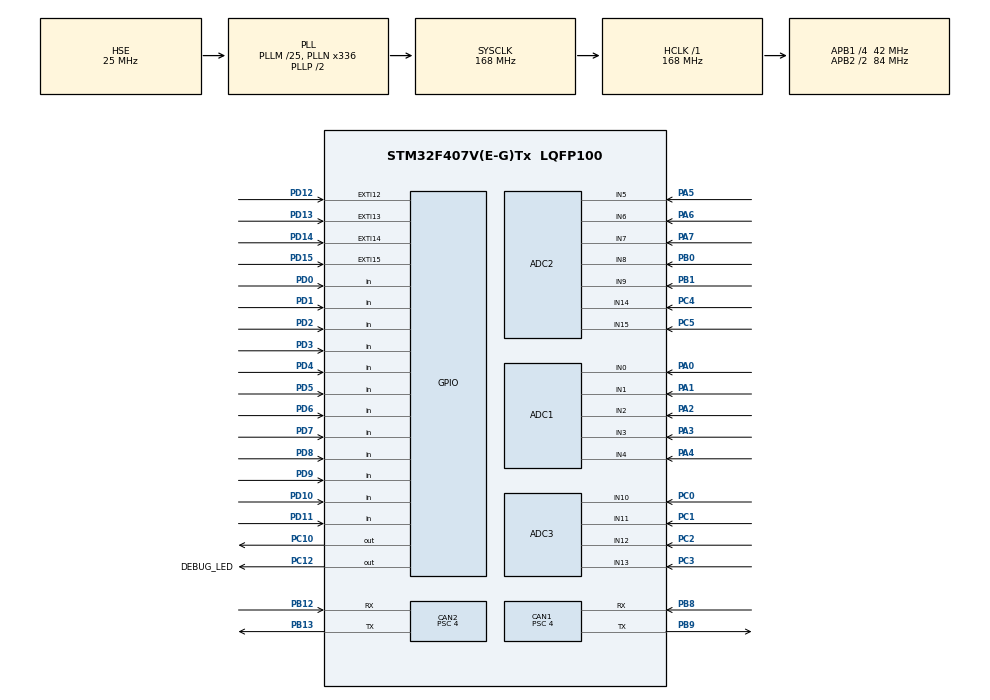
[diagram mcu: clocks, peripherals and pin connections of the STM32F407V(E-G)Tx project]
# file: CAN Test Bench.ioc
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ADC1.Channel-0\#ChannelRegularConversion=ADC_CHANNEL_0
ADC1.Channel-1\#ChannelRegularConversion=ADC_CHANNEL_1
ADC1.Channel-2\#ChannelRegularConversion=ADC_CHANNEL_2
ADC1.Channel-3\#ChannelRegularConversion=ADC_CHANNEL_3
ADC1.Channel-5\#ChannelInjectedConversion=ADC_CHANNEL_0
ADC1.Channel-6\#ChannelInjectedConversion=ADC_CHANNEL_0
ADC1.Channel-7\#ChannelInjectedConversion=ADC_CHANNEL_0
ADC1.Channel-8\#ChannelInjectedConversion=ADC_CHANNEL_0
ADC1.Channel-9\#ChannelRegularConversion=ADC_CHANNEL_4
ADC1.ClockPrescaler=ADC_CLOCK_SYNC_PCLK_DIV8
ADC1.ContinuousConvMode=DISABLE
ADC1.DMAContinuousRequests=DISABLE
ADC1.EOCSelection=ADC_EOC_SINGLE_CONV
ADC1.EnableAnalogWatchDog=false
ADC1.InjNumberOfConversion=4
ADC1.InjectedOffset-5\#ChannelInjectedConversion=0
ADC1.InjectedOffset-6\#ChannelInjectedConversion=0
ADC1.InjectedOffset-7\#ChannelInjectedConversion=0
ADC1.InjectedOffset-8\#ChannelInjectedConversion=0
ADC1.InjectedRank-5\#ChannelInjectedConversion=1
ADC1.InjectedRank-6\#ChannelInjectedConversion=2
ADC1.InjectedRank-7\#ChannelInjectedConversion=3
ADC1.InjectedRank-8\#ChannelInjectedConversion=4
ADC1.NbrOfConversion=5
ADC1.NbrOfConversionFlag=1
ADC1.Rank-0\#ChannelRegularConversion=1
ADC1.Rank-1\#ChannelRegularConversion=2
ADC1.Rank-2\#ChannelRegularConversion=3
ADC1.Rank-3\#ChannelRegularConversion=4
ADC1.Rank-9\#ChannelRegularConversion=5
ADC1.SamplingTime-0\#ChannelRegularConversion=ADC_SAMPLETIME_144CYCLES
ADC1.SamplingTime-1\#ChannelRegularConversion=ADC_SAMPLETIME_144CYCLES
ADC1.SamplingTime-2\#ChannelRegularConversion=ADC_SAMPLETIME_144CYCLES
ADC1.SamplingTime-3\#ChannelRegularConversion=ADC_SAMPLETIME_144CYCLES
ADC1.SamplingTime-5\#ChannelInjectedConversion=ADC_SAMPLETIME_3CYCLES
ADC1.SamplingTime-6\#ChannelInjectedConversion=ADC_SAMPLETIME_3CYCLES
ADC1.SamplingTime-7\#ChannelInjectedConversion=ADC_SAMPLETIME_3CYCLES
ADC1.SamplingTime-8\#ChannelInjectedConversion=ADC_SAMPLETIME_3CYCLES
ADC1.SamplingTime-9\#ChannelRegularConversion=ADC_SAMPLETIME_144CYCLES
ADC1.master=1
ADC2.Channel-0\#ChannelRegularConversion=ADC_CHANNEL_5
ADC2.Channel-1\#ChannelRegularConversion=ADC_CHANNEL_6
ADC2.Channel-2\#ChannelRegularConversion=ADC_CHANNEL_7
ADC2.Channel-3\#ChannelRegularConversion=ADC_CHANNEL_8
ADC2.Channel-4\#ChannelRegularConversion=ADC_CHANNEL_9
ADC2.Channel-5\#ChannelRegularConversion=ADC_CHANNEL_14
ADC2.Channel-6\#ChannelRegularConversion=ADC_CHANNEL_15
ADC2.ClockPrescaler=ADC_CLOCK_SYNC_PCLK_DIV8
ADC2.NbrOfConversion=7
ADC2.NbrOfConversionFlag=1
ADC2.Rank-0\#ChannelRegularConversion=1
ADC2.Rank-1\#ChannelRegularConversion=2
ADC2.Rank-2\#ChannelRegularConversion=3
ADC2.Rank-3\#ChannelRegularConversion=4
ADC2.Rank-4\#ChannelRegularConversion=5
ADC2.Rank-5\#ChannelRegularConversion=6
ADC2.Rank-6\#ChannelRegularConversion=7
ADC2.SamplingTime-0\#ChannelRegularConversion=ADC_SAMPLETIME_144CYCLES
ADC2.SamplingTime-1\#ChannelRegularConversion=ADC_SAMPLETIME_144CYCLES
ADC2.SamplingTime-2\#ChannelRegularConversion=ADC_SAMPLETIME_144CYCLES
ADC2.SamplingTime-3\#ChannelRegularConversion=ADC_SAMPLETIME_144CYCLES
ADC2.SamplingTime-4\#ChannelRegularConversion=ADC_SAMPLETIME_144CYCLES
ADC2.SamplingTime-5\#ChannelRegularConversion=ADC_SAMPLETIME_144CYCLES
ADC2.SamplingTime-6\#ChannelRegularConversion=ADC_SAMPLETIME_144CYCLES
ADC2.ScanConvMode=ENABLE
ADC3.Channel-0\#ChannelRegularConversion=ADC_CHANNEL_10
ADC3.Channel-1\#ChannelRegularConversion=ADC_CHANNEL_11
ADC3.Channel-2\#ChannelRegularConversion=ADC_CHANNEL_12
ADC3.Channel-3\#ChannelRegularConversion=ADC_CHANNEL_13
ADC3.ClockPrescaler=ADC_CLOCK_SYNC_PCLK_DIV8
ADC3.NbrOfConversion=4
ADC3.NbrOfConversionFlag=1
ADC3.Rank-0\#ChannelRegularConversion=1
ADC3.Rank-1\#ChannelRegularConversion=2
ADC3.Rank-2\#ChannelRegularConversion=3
ADC3.Rank-3\#ChannelRegularConversion=4
ADC3.SamplingTime-0\#ChannelRegularConversion=ADC_SAMPLETIME_144CYCLES
ADC3.SamplingTime-1\#ChannelRegularConversion=ADC_SAMPLETIME_144CYCLES
ADC3.SamplingTime-2\#ChannelRegularConversion=ADC_SAMPLETIME_144CYCLES
ADC3.SamplingTime-3\#ChannelRegularConversion=ADC_SAMPLETIME_144CYCLES
ADC3.ScanConvMode=ENABLE
CAN1.BS1=CAN_BS1_12TQ
CAN1.BS2=CAN_BS2_8TQ
CAN1.CalculateBaudRate=500000
CAN1.CalculateTimeBit=2000
CAN1.CalculateTimeQuantum=95.23809523809524
CAN1.Prescaler=4
CAN1.TXFP=ENABLE
CAN2.BS1=CAN_BS1_12TQ
CAN2.BS2=CAN_BS2_8TQ
CAN2.CalculateBaudRate=500000
CAN2.CalculateTimeBit=2000
CAN2.CalculateTimeQuantum=95.23809523809524
CAN2.Prescaler=4
CAN2.TXFP=ENABLE
Dma.ADC1.0.Direction=DMA_PERIPH_TO_MEMORY
Dma.ADC1.0.FIFOMode=DMA_FIFOMODE_DISABLE
Dma.ADC1.0.Instance=DMA2_Stream0
Dma.ADC1.0.MemDataAlignment=DMA_MDATAALIGN_WORD
Dma.ADC1.0.MemInc=DMA_MINC_ENABLE
Dma.ADC1.0.Mode=DMA_CIRCULAR
Dma.ADC1.0.PeriphDataAlignment=DMA_PDATAALIGN_WORD
Dma.ADC1.0.PeriphInc=DMA_PINC_DISABLE
Dma.ADC1.0.Priority=DMA_PRIORITY_HIGH
Dma.ADC2.1.Direction=DMA_PERIPH_TO_MEMORY
Dma.ADC2.1.FIFOMode=DMA_FIFOMODE_DISABLE
Dma.ADC2.1.Instance=DMA2_Stream2
Dma.ADC2.1.MemDataAlignment=DMA_MDATAALIGN_HALFWORD
Dma.ADC2.1.MemInc=DMA_MINC_ENABLE
Dma.ADC2.1.Mode=DMA_NORMAL
Dma.ADC2.1.PeriphDataAlignment=DMA_PDATAALIGN_HALFWORD
Dma.ADC2.1.PeriphInc=DMA_PINC_DISABLE
Dma.ADC2.1.Priority=DMA_PRIORITY_HIGH
Dma.ADC3.2.Direction=DMA_PERIPH_TO_MEMORY
Dma.ADC3.2.FIFOMode=DMA_FIFOMODE_DISABLE
Dma.ADC3.2.Instance=DMA2_Stream1
Dma.ADC3.2.MemDataAlignment=DMA_MDATAALIGN_HALFWORD
Dma.ADC3.2.MemInc=DMA_MINC_ENABLE
Dma.ADC3.2.Mode=DMA_NORMAL
Dma.ADC3.2.PeriphDataAlignment=DMA_PDATAALIGN_HALFWORD
Dma.ADC3.2.PeriphInc=DMA_PINC_DISABLE
Dma.ADC3.2.Priority=DMA_PRIORITY_HIGH
Dma.Request0=ADC1
Dma.Request1=ADC2
Dma.Request2=ADC3
Mcu.Family=STM32F4
Mcu.Name=STM32F407V(E-G)Tx
Mcu.Package=LQFP100
NVIC.ADC_IRQn=true\:5\:0\:true\:false\:true\:true\:true\:true
NVIC.CAN1_RX0_IRQn=true\:6\:0\:true\:false\:true\:true\:true\:true
NVIC.CAN1_RX1_IRQn=true\:6\:0\:true\:false\:true\:true\:true\:true
NVIC.CAN1_SCE_IRQn=true\:6\:0\:true\:false\:true\:true\:true\:true
NVIC.CAN1_TX_IRQn=true\:6\:0\:true\:false\:true\:true\:true\:true
NVIC.CAN2_RX0_IRQn=true\:6\:0\:true\:false\:true\:true\:true\:true
NVIC.CAN2_RX1_IRQn=true\:6\:0\:true\:false\:true\:true\:true\:true
NVIC.CAN2_SCE_IRQn=true\:6\:0\:true\:false\:true\:true\:true\:true
NVIC.CAN2_TX_IRQn=true\:6\:0\:true\:false\:true\:true\:true\:true
NVIC.DMA2_Stream0_IRQn=true\:0\:0\:false\:false\:true\:false\:true\:true
NVIC.DMA2_Stream1_IRQn=true\:0\:0\:false\:false\:true\:false\:true\:true
NVIC.DMA2_Stream2_IRQn=true\:0\:0\:false\:false\:true\:false\:true\:true
NVIC.EXTI15_10_IRQn=true\:7\:0\:true\:false\:true\:true\:true\:true
NVIC.PriorityGroup=NVIC_PRIORITYGROUP_4
NVIC.TIM1_UP_TIM10_IRQn=true\:15\:0\:false\:false\:true\:false\:true\:true
NVIC.TimeBase=TIM1_UP_TIM10_IRQn
NVIC.TimeBaseIP=TIM1
PA0-WKUP.Signal=ADCx_IN0
PA1.Signal=ADCx_IN1
PA13.Mode=Trace_Asynchronous_SW
PA13.Signal=SYS_JTMS-SWDIO
PA14.Mode=Trace_Asynchronous_SW
PA14.Signal=SYS_JTCK-SWCLK
PA2.Signal=ADCx_IN2
PA3.Signal=ADCx_IN3
PA4.Signal=ADCx_IN4
PA5.Signal=ADCx_IN5
PA6.Signal=ADCx_IN6
PA7.Signal=ADCx_IN7
PB0.Signal=ADCx_IN8
PB1.Signal=ADCx_IN9
PB12.Mode=CAN_Activate
PB12.Signal=CAN2_RX
PB13.Mode=CAN_Activate
PB13.Signal=CAN2_TX
PB3.Mode=Trace_Asynchronous_SW
PB3.Signal=SYS_JTDO-SWO
PB8.Mode=CAN_Activate
PB8.Signal=CAN1_RX
PB9.Mode=CAN_Activate
PB9.Signal=CAN1_TX
PC0.Signal=ADCx_IN10
PC1.Signal=ADCx_IN11
PC10.Signal=GPIO_Output
PC12.GPIO_Label=DEBUG_LED
PC12.Signal=GPIO_Output
PC2.Signal=ADCx_IN12
PC3.Signal=ADCx_IN13
PC4.Signal=ADCx_IN14
PC5.Signal=ADCx_IN15
PD0.GPIO_PuPd=GPIO_PULLDOWN
PD0.Signal=GPIO_Input
PD1.GPIO_PuPd=GPIO_PULLDOWN
PD1.Signal=GPIO_Input
PD10.GPIO_PuPd=GPIO_PULLDOWN
PD10.Signal=GPIO_Input
PD11.GPIO_PuPd=GPIO_PULLDOWN
PD11.Signal=GPIO_Input
PD12.GPIO_PuPd=GPIO_PULLDOWN
PD12.Signal=GPXTI12
PD13.GPIO_PuPd=GPIO_PULLDOWN
PD13.Signal=GPXTI13
PD14.GPIO_PuPd=GPIO_PULLDOWN
PD14.Signal=GPXTI14
PD15.GPIO_PuPd=GPIO_PULLDOWN
PD15.Signal=GPXTI15
PD2.GPIO_PuPd=GPIO_PULLDOWN
PD2.Signal=GPIO_Input
PD3.GPIO_PuPd=GPIO_PULLDOWN
PD3.Signal=GPIO_Input
PD4.GPIO_PuPd=GPIO_PULLDOWN
PD4.Signal=GPIO_Input
PD5.GPIO_PuPd=GPIO_PULLDOWN
PD5.Signal=GPIO_Input
PD6.GPIO_PuPd=GPIO_PULLDOWN
PD6.Signal=GPIO_Input
PD7.GPIO_PuPd=GPIO_PULLDOWN
PD7.Signal=GPIO_Input
PD8.GPIO_PuPd=GPIO_PULLDOWN
PD8.Signal=GPIO_Input
PD9.GPIO_PuPd=GPIO_PULLDOWN
PD9.Signal=GPIO_Input
PH0-OSC_IN.Mode=HSE-External-Clock-Source
PH0-OSC_IN.Signal=RCC_OSC_IN
PH1-OSC_OUT.Mode=HSE-External-Clock-Source
PH1-OSC_OUT.Signal=RCC_OSC_OUT
ProjectManager.HeapSize=0x200
ProjectManager.StackSize=0x400
ProjectManager.TargetToolchain=STM32CubeIDE
RCC.48MHZClocksFreq_Value=84000000
RCC.AHBFreq_Value=168000000
RCC.APB1CLKDivider=RCC_HCLK_DIV4
RCC.APB1Freq_Value=42000000
RCC.APB1TimFreq_Value=84000000
RCC.APB2CLKDivider=RCC_HCLK_DIV2
RCC.APB2Freq_Value=84000000
RCC.APB2TimFreq_Value=168000000
RCC.CortexFreq_Value=168000000
RCC.HCLKFreq_Value=168000000
RCC.HSE_VALUE=25000000
RCC.HSI_VALUE=16000000
RCC.LSE_VALUE=32768
RCC.PLLM=25
RCC.PLLN=336
RCC.PLLSourceVirtual=RCC_PLLSOURCE_HSE
RCC.SYSCLKFreq_VALUE=168000000
RCC.SYSCLKSource=RCC_SYSCLKSOURCE_PLLCLK
RCC.VCOOutputFreq_Value=336000000
SH.ADCx_IN0.0=ADC1_IN0,IN0
SH.ADCx_IN1.0=ADC1_IN1,IN1
SH.ADCx_IN10.0=ADC3_IN10,IN10
SH.ADCx_IN11.0=ADC3_IN11,IN11
SH.ADCx_IN12.0=ADC3_IN12,IN12
SH.ADCx_IN13.0=ADC3_IN13,IN13
SH.ADCx_IN14.0=ADC2_IN14,IN14
SH.ADCx_IN15.0=ADC2_IN15,IN15
SH.ADCx_IN2.0=ADC1_IN2,IN2
SH.ADCx_IN3.0=ADC1_IN3,IN3
SH.ADCx_IN4.0=ADC1_IN4,IN4
SH.ADCx_IN5.0=ADC2_IN5,IN5
SH.ADCx_IN6.0=ADC2_IN6,IN6
SH.ADCx_IN7.0=ADC2_IN7,IN7
SH.ADCx_IN8.0=ADC2_IN8,IN8
SH.ADCx_IN9.0=ADC2_IN9,IN9
TIM3.AutoReloadPreload=TIM_AUTORELOAD_PRELOAD_DISABLE
TIM3.ClockDivision=TIM_CLOCKDIVISION_DIV1
TIM3.Period=99
TIM3.Prescaler=83
TIM3.TIM_MasterOutputTrigger=TIM_TRGO_UPDATE
TIM5.Prescaler=83
VP_SYS_VS_tim1.Mode=TIM1
VP_TIM11_VS_ClockSourceINT.Mode=Enable_Timer
VP_TIM3_VS_ClockSourceINT.Mode=Internal
VP_TIM5_VS_ClockSourceINT.Mode=Internal
board=custom

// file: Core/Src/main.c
/* USER CODE BEGIN Header */
/**
  ******************************************************************************
  * @file           : main.c
  * @brief          : Main program body
  ******************************************************************************
  * @attention
  *
  * Copyright (c) 2023 STMicroelectronics.
  * All rights reserved.
  *
  * This software is licensed under terms that can be found in the LICENSE file
  * in the root directory of this software component.
  * If no LICENSE file comes with this software, it is provided AS-IS.
  *
  ******************************************************************************
  */

#define __UV_FILENAME__ "main.c"
#define MAIN_C

/* USER CODE END Header */
#include "main.h"
#include "adc.h"
#include "can.h"
#include "dma.h"
#include "tim.h"
#include "gpio.h"

/* USER CODE BEGIN Includes */

// The CAN info is defined in constants

#include "constants.h"
#include "bms.h"
#include "dash.h"
#include "imd.h"
#include "motor_controller.h"
#include "pdu.h"
#include "../FreeRTOS/Source/CMSIS_RTOS/cmsis_os.h"
#include <stdio.h>

/* USER CODE END Includes */

/* USER CODE BEGIN PD */
#define DEBUG_CAN_IN_MAIN 0
/* USER CODE END PD */

/* USER CODE BEGIN PV */
volatile uint32_t adc_buf1[5]; // ADC1 - high priority readings

uint16_t adc1_APPS1; //These are the locations for the sensor inputs for APPS and BPS
uint16_t adc1_APPS2;
uint16_t adc1_BPS1;
uint16_t adc1_BPS2;
uint16_t adc1_pack_curr;

volatile uint32_t adc_buf2[7]; // ADC2 - lower priority readings
uint16_t adc2_CoolantTemp1;
uint16_t adc2_CoolantTemp2;
uint16_t adc2_CoolantFlow;
uint16_t adc2_steering_pos;

volatile uint32_t adc_buf3[4];
uint16_t adc3_damper_FL;
uint16_t adc3_damper_FR;
uint16_t adc3_damper_RL;
uint16_t adc3_damper_RR;

TaskHandle_t init_task_handle;
uv_init_struct init_settings;

//int adc_conv_complete_flag = 0;

//State of da vehicle
//enum uv_vehicle_state_t vehicle_state = UV_INIT; //TODO: Define new state machine logic

/* USER CODE END PV */

void SystemClock_Config(void);

int main(void)
{

  /* MCU Configuration--------------------------------------------------------*/

  /* Reset of all peripherals, Initializes the Flash interface and the Systick. */
    HAL_Init();

  /* USER CODE BEGIN Init */
  // The CAN clock must be enabled
  __HAL_RCC_CAN2_CLK_ENABLE();
  __HAL_RCC_CAN1_CLK_ENABLE();
  /* USER CODE END Init */

  /* Configure the system clock */
  SystemClock_Config();

  /* USER CODE BEGIN SysInit */
  uvAssert((1+1) == 2);
  SysTick_Config(SystemCoreClock / 1000);
  /* USER CODE END SysInit */

  /* Initialize all configured peripherals */
  MX_GPIO_Init();
  MX_DMA_Init();
  MX_CAN2_Init();
  MX_ADC1_Init();
  MX_TIM3_Init();
  MX_ADC2_Init();
  MX_ADC3_Init();
  MX_CAN1_Init();
  MX_TIM11_Init();
  MX_TIM5_Init();
  /* USER CODE BEGIN 2 */
  //HAL_ADC_Start_DMA(&hadc1, (uint32_t*)adc_buf1, ADC1_BUF_LEN);
  //HAL_TIM_Base_Start_IT(&htim3); This is getting disabled, since measuring temp will now be an RTOS task
   // Just to prove we reached this point in the code
  //MX_FREERTOS_Init();
  //ANYTHING WE NEED TO DO BEFORE THE KERNEL TAKES OVER SHOULD HAPPEN HERE:

  //HAL_NVIC_PriorityGroupConfig( NVIC_PRIORITYGROUP_4 ); ///< This one is a fun function to do some NVIC tomfoolery because we need to
#if DEBUG_CAN_IN_MAIN
  while(1){
	  HAL_GPIO_TogglePin(GPIOD,GPIO_PIN_14);
	  TxData[0] = 0b10101010;
	  TxData[1] = 0b10101010;
	  TxData[2] = 0b10101010;
	  TxData[3] = 1;
	  TxData[4] = 2;
	  TxData[5] = 3;
	  TxData[6] = 0b10101010;
	  TxData[7] = 0b10101010;

	  HAL_StatusTypeDef can_send_status;

	  					//vTaskDelay(400);

	  HAL_Delay(200);

	  TxHeader.IDE = CAN_ID_EXT;
	  TxHeader.ExtId = 0x1234;

	  TxHeader.DLC = 8;

	  //No need for a critical section when we out here in main without a scheduler running :)
	  //taskENTER_CRITICAL();
	  can_send_status = HAL_CAN_AddTxMessage(&hcan2, &TxHeader, TxData, &TxMailbox);
	  //taskEXIT_CRITICAL();

	  if (can_send_status != HAL_OK){
	  													/* Transmission request Error */
	  						//uvPanic("Unable to Transmit CAN msg",can_send_status);
	  		handleCANbusError(&hcan2, 0);
	  }

  }
#endif

#ifdef DEBUG
  printf("STARTING VCU\n");
#endif
  /* USER CODE END 2 */

  /* Infinite loop */
  /* USER CODE BEGIN WHILE */

  BaseType_t x_task_return = xTaskCreate(uvInit,"init",512,&init_settings,osPriorityNormal,&init_task_handle);
    if(x_task_return != pdPASS){
  	 while(1){
  		  //Program hangs itself, like bro, we couldnt even create the INITIALISATION task, thats fucked
  	 }
  }

  vTaskStartScheduler();

  //We only get here if for whatever god forsaken reason somebody calls vTaskEndScheduler();

  /* USER CODE END 3 */
}

void SystemClock_Config(void)
{
  RCC_OscInitTypeDef RCC_OscInitStruct = {0};
  RCC_ClkInitTypeDef RCC_ClkInitStruct = {0};

  /** Configure the main internal regulator output voltage
  */
  __HAL_RCC_PWR_CLK_ENABLE();
  __HAL_PWR_VOLTAGESCALING_CONFIG(PWR_REGULATOR_VOLTAGE_SCALE1);

  /** Initializes the RCC Oscillators according to the specified parameters
  * in the RCC_OscInitTypeDef structure.
  */
  RCC_OscInitStruct.OscillatorType = RCC_OSCILLATORTYPE_HSE;
  RCC_OscInitStruct.HSEState = RCC_HSE_BYPASS;
  RCC_OscInitStruct.PLL.PLLState = RCC_PLL_ON;
  RCC_OscInitStruct.PLL.PLLSource = RCC_PLLSOURCE_HSE;
  RCC_OscInitStruct.PLL.PLLM = 25;
  RCC_OscInitStruct.PLL.PLLN = 336;
  RCC_OscInitStruct.PLL.PLLP = RCC_PLLP_DIV2;
  RCC_OscInitStruct.PLL.PLLQ = 4;
  if (HAL_RCC_OscConfig(&RCC_OscInitStruct) != HAL_OK)
  {
    Error_Handler();
  }

  /** Initializes the CPU, AHB and APB buses clocks
  */
  RCC_ClkInitStruct.ClockType = RCC_CLOCKTYPE_HCLK|RCC_CLOCKTYPE_SYSCLK
                              |RCC_CLOCKTYPE_PCLK1|RCC_CLOCKTYPE_PCLK2;
  RCC_ClkInitStruct.SYSCLKSource = RCC_SYSCLKSOURCE_PLLCLK;
  RCC_ClkInitStruct.AHBCLKDivider = RCC_SYSCLK_DIV1;
  RCC_ClkInitStruct.APB1CLKDivider = RCC_HCLK_DIV4;
  RCC_ClkInitStruct.APB2CLKDivider = RCC_HCLK_DIV2;

  if (HAL_RCC_ClockConfig(&RCC_ClkInitStruct, FLASH_LATENCY_5) != HAL_OK)
  {
    Error_Handler();
  }
}

/* USER CODE BEGIN 4 */
// called when timer 3 period elapsed
//void HAL_TIM_PeriodElapsedCallback(TIM_HandleTypeDef *htim){
//
//	// check that timer 3 created the interrupt
//	if (htim == &htim3){
//
//		// start a single round of ADC2 conversions
//		HAL_ADC_Start_DMA(&hadc2, (uint32_t*)adc_buf2, ADC2_BUF_LEN);
//
//		// restart timer
//		HAL_TIM_Base_Start_IT(&htim3);
//	}
//}

// Called when adc dma buffer is completely filled
void HAL_ADC_ConvCpltCallback(ADC_HandleTypeDef* hadc) {
	if(hadc == &hadc1){
		processADCBuffer(1);
	}else if(hadc == &hadc2){
		processADCBuffer(2);
	}else if(hadc == &hadc3){
		processADCBuffer(3);
	}

}

// EXTI gpio pin a0 External Interrupt ISR Handler

// Analog Watchdog Out-of-Range handler, ADC conversion values range from 0 to 4095?? why does this exist still - Byron
void HAL_ADC_LevelOutOfWindowCallback(ADC_HandleTypeDef* hadc){
	if(hadc->Instance == ADC1){
		// triggered for voltages below 0.5V (below 400) or above 4.5V (above 3674)
//		HAL_GPIO_WritePin(Red_LED_GPIO_Port,Red_LED_Pin, GPIO_PIN_SET);
		HAL_ADC_Stop_DMA(&hadc1);
		adc1_APPS1 = 0;
		adc1_APPS2 = 0;
	}
	if(hadc->Instance == ADC2){
		// handle coolant sensors short error
	}
}

/* USER CODE END 4 */

void HAL_TIM_PeriodElapsedCallback(TIM_HandleTypeDef *htim)
{
  if (htim->Instance == TIM1) {
    HAL_IncTick();
  }
  /* USER CODE BEGIN Callback 1 */
  if (htim == &htim3){

  		// start a single round of ADC2 conversions
  		//HAL_ADC_Start_DMA(&hadc2, (uint32_t*)adc_buf2, ADC2_BUF_LEN);

  		// restart timer
  		HAL_TIM_Base_Start_IT(&htim3);
  	}
  /* USER CODE END Callback 1 */
}

void Error_Handler(void)
{
  /* USER CODE BEGIN Error_Handler_Debug */
	HAL_GPIO_TogglePin(GPIOD,GPIO_PIN_12); //Me when the error is not being handled
  /* User can add his own implementation to report the HAL error return state */
  __disable_irq();
  while (1)
  {
  }
  /* USER CODE END Error_Handler_Debug */
}
